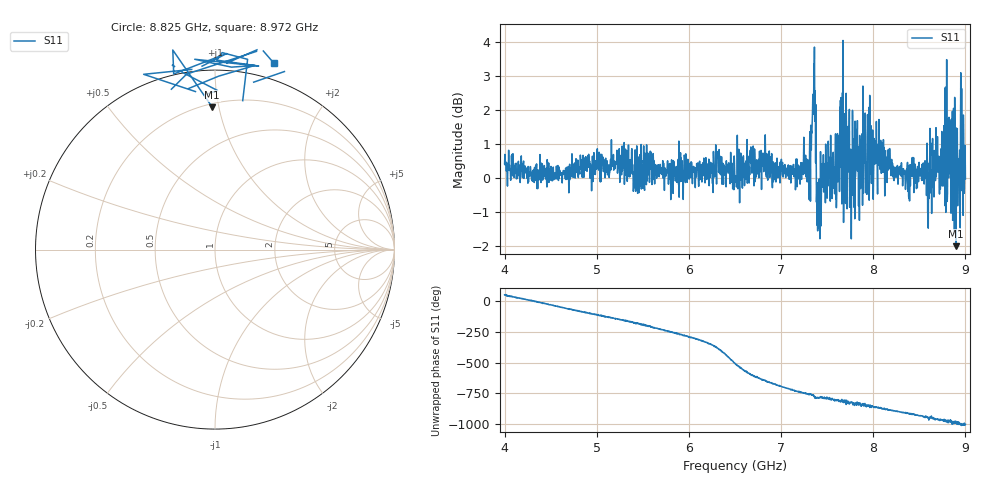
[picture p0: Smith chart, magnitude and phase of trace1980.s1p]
! Created with skrf 1.8.0 (http://scikit-rf.org).
# Hz S RI R 50.0
!freq ReS11 ImS11
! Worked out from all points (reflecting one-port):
!   1601 points, 4 GHz to 9 GHz, reference 50 ohm
!   lowest |S11| = -2.0 dB at 8.9 GHz (marker M1), VSWR 8.67, Z = 11.2 + j47.8 ohm
!   phase of S11 starts at 51 deg and turns -1053 deg over the sweep
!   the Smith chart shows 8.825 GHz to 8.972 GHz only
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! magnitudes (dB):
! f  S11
! 4 GHz  0.4
! 4.625 GHz  -0.2
! 5.25 GHz  -0.1
! 5.875 GHz  0.0
! 6.328 GHz  0.8
! 6.5 GHz  -0.1
! 6.691 GHz  0.6
! 7.125 GHz  0.2
! 7.294 GHz  -0.1
! 7.347 GHz  2.5
! 7.369 GHz  2.6
! 7.409 GHz  -1.1
! 7.466 GHz  -0.3
! 7.594 GHz  -0.6
! 7.65 GHz  2.4
! 7.75 GHz  -0.2
! 7.859 GHz  0.8
! 7.962 GHz  2.4
! 7.981 GHz  -0.2
! 8.375 GHz  0.1
! 8.431 GHz  0.6
! 8.612 GHz  0.2
! 8.662 GHz  0.3
! 8.738 GHz  0.6
! 8.759 GHz  -0.2
! 8.9 GHz  -2.0
! 8.972 GHz  0.7
! 9 GHz  0.0
